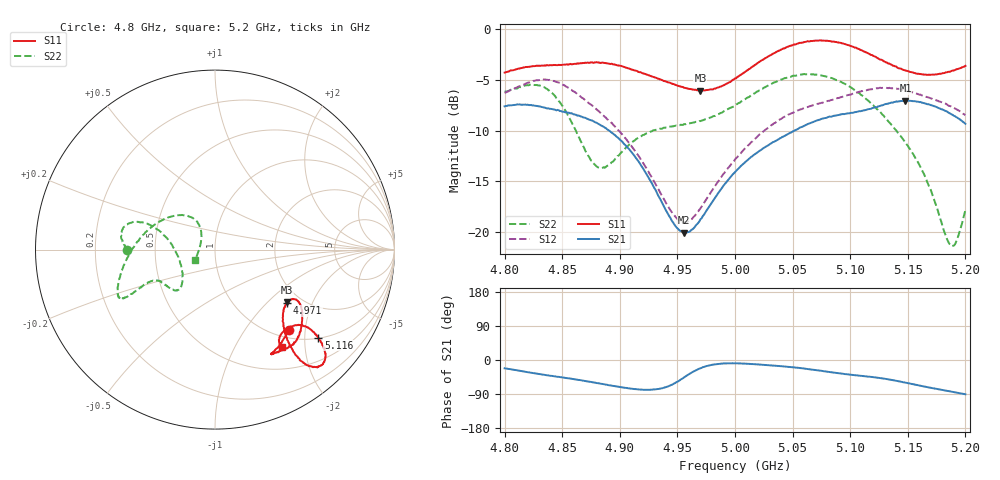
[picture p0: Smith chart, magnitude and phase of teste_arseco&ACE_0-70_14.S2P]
! Network Analyzer HP8722D
! Hewlett-Packard
! Data name: Linha & Wilkinson
! Saver's name: Rodrigo Anjos
! Comments: Teste da utilização de aquisição
! continua pelo VNA HP8722D
! Time and date: 8/5/2025 12:52
!  Frequency  S11  S21  S12  S22
# HZ  S  MA R 50
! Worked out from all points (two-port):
!   401 points, 4.8 GHz to 5.2 GHz, reference 50 ohm
!   highest |S21| = -7.07 dB at 5.148 GHz (marker M1); lowest = -20.0 dB at 4.956 GHz (marker M2)
!   |S21| within 3 dB of the highest: start of sweep to 4.891 GHz; 5.051 GHz to end of sweep
!   lowest |S11| = -6.1 dB at 4.97 GHz (marker M3), VSWR 2.98, Z = 85.1 - j66 ohm
!   |S11| at or under -10 dB: nowhere
!   |S22| runs from -21.4 to -4.4 dB; largest |S21 - S12| = 0.95
!   S11 on the Smith chart (normalised r, x): 4.8 GHz: 1.14, -1.64; 4.971 GHz: 1.68, -1.33; 5.116 GHz: 1.02, -2.33; 5.2 GHz: 0.82, -1.57
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4.8e9  0.6093 -47.7  0.4158 -21.9  0.4842 -175.7  0.4907 -179.9
4.822e9  0.6513 -58.8  0.4216 -33.0  0.5465 176.2  0.5308 171.2
4.837e9  0.6631 -61.5  0.4061 -40.5  0.5616 167.4  0.506 163.5
4.85e9  0.6647 -59.9  0.3918 -45.9  0.5344 159.3  0.4194 159.3
4.867e9  0.6772 -54.8  0.3697 -53.9  0.4585 151.0  0.2739 166.7
4.885e9  0.682 -48.8  0.332 -63.2  0.378 144.5  0.2072 -160.2
4.909e9  0.6349 -40.3  0.2523 -75.1  0.2706 137.9  0.2718 -133.1
4.934e9  0.5672 -33.0  0.1493 -76.3  0.1609 141.3  0.3215 -135.4
4.956e9  0.5125 -32.4  0.09946 -45.4  0.1121 172.8  0.3403 -144.5
4.97e9  0.4972 -36.0  0.1158 -21.8  0.131 -163.3  0.3517 -149.7
4.971e9  0.4986 -36.5  0.117 -20.7  0.1337 -162.1  0.3541 -150.4
5e9  0.5701 -47.9  0.1973 -8.9  0.2279 -146.7  0.4199 -153.6
5.038e9  0.7803 -52.4  0.2867 -15.9  0.3564 -147.8  0.5576 -151.8
5.067e9  0.8704 -48.3  0.3469 -25.3  0.4205 -154.3  0.5963 -154.8
5.094e9  0.846 -43.2  0.3808 -36.5  0.4639 -161.8  0.541 -165.7
5.116e9  0.756 -40.4  0.4029 -44.0  0.5024 -171.9  0.4412 175.6
5.134e9  0.6743 -40.0  0.4307 -51.5  0.5129 177.5  0.3465 153.2
5.148e9  0.6237 -42.3  0.4433 -59.9  0.4973 169.3  0.2759 135.9
5.165e9  0.596 -47.9  0.4297 -70.5  0.4645 161.5  0.1875 122.8
5.187e9  0.6167 -54.8  0.3828 -83.3  0.4167 153.9  0.08653 159.4
5.192e9  0.6318 -55.4  0.3682 -85.8  0.4034 152.2  0.08984 -177.7
5.2e9  0.6572 -55.7  0.3413 -90.4  0.3763 149.4  0.1286 -151.9
